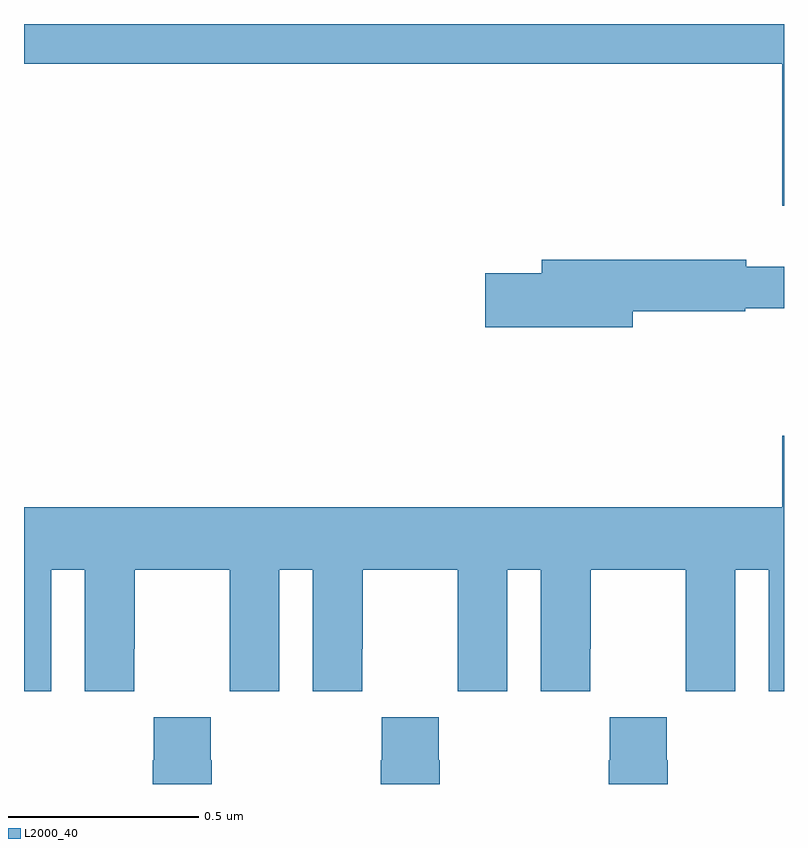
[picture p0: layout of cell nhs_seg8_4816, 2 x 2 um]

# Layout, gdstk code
import gdstk
lib = gdstk.Library(unit=1e-6, precision=1e-09)
def P(c, l, *ps):  # polygons
    for p in ps: c.add(gdstk.Polygon(p, *l))
L2000_40 = (2000, 40)

nhs_seg8_4816 = lib.new_cell('nhs_seg8_4816')
P(nhs_seg8_4816, L2000_40, [(177,1153.9),(175,1153.9),(175,1153.796),(176.996,1153.796),(176.996,1153.422),(177,1153.422)],
  [(176.602,1153.144),(176.898,1153.144),(176.898,1153.152),(177,1153.152),(177,1153.261),(176.9,1153.261),(176.9,1153.28),(176.363,1153.28),(176.363,1153.244),(176.214,1153.244),(176.214,1153.102),(176.602,1153.102)],
  [(175.072,1152.464),(175.16,1152.464),(175.16,1152.144),(175.29,1152.144),(175.29,1152.256),(175.291,1152.256),(175.291,1152.464),(175.541,1152.464),(175.541,1152.256),(175.542,1152.256),(175.542,1152.144),(175.672,1152.144),(175.672,1152.464),(175.76,1152.464),(175.76,1152.144),(175.89,1152.144),(175.89,1152.256),(175.891,1152.256),(175.891,1152.464),(176.141,1152.464),(176.141,1152.256),(176.142,1152.256),(176.142,1152.144),(176.272,1152.144),(176.272,1152.464),(176.36,1152.464),(176.36,1152.144),(176.49,1152.144),(176.49,1152.256),(176.491,1152.256),(176.491,1152.464),(176.741,1152.464),(176.741,1152.256),(176.742,1152.256),(176.742,1152.144),(176.872,1152.144),(176.872,1152.464),(176.96,1152.464),(176.96,1152.144),(177,1152.144),(177,1152.817),(176.996,1152.817),(176.996,1152.628),(175,1152.628),(175,1152.144),(175.072,1152.144)],
  [(176.694,1151.963),(176.691,1151.963),(176.691,1152.076),(176.541,1152.076),(176.541,1151.963),(176.539,1151.963),(176.539,1151.9),(176.694,1151.9)],
  [(176.094,1151.963),(176.091,1151.963),(176.091,1152.076),(175.941,1152.076),(175.941,1151.963),(175.939,1151.963),(175.939,1151.9),(176.094,1151.9)],
  [(175.494,1151.963),(175.491,1151.963),(175.491,1152.076),(175.341,1152.076),(175.341,1151.963),(175.339,1151.963),(175.339,1151.9),(175.494,1151.9)])

lib.write_gds('nhs_seg8_4816.gds')
